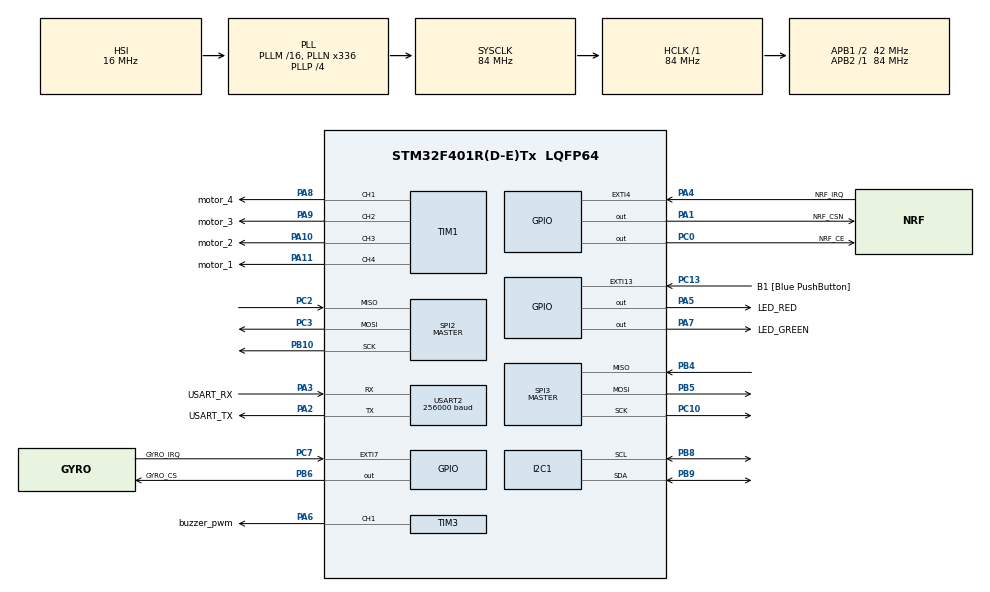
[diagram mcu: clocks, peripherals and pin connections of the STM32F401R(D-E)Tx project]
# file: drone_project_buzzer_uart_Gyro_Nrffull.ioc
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Mcu.Family=STM32F4
Mcu.Name=STM32F401R(D-E)Tx
Mcu.Package=LQFP64
NVIC.EXTI4_IRQn=true\:0\:0\:false\:false\:true\:true\:true\:true
NVIC.EXTI9_5_IRQn=true\:0\:0\:false\:false\:true\:true\:true\:true
NVIC.PriorityGroup=NVIC_PRIORITYGROUP_0
NVIC.USART2_IRQn=true\:0\:0\:false\:false\:true\:true\:true\:true
PA1.GPIO_Label=NRF_CSN
PA1.Signal=GPIO_Output
PA10.GPIO_Label=motor_2
PA10.Signal=S_TIM1_CH3
PA11.GPIO_Label=motor_1
PA11.Signal=S_TIM1_CH4
PA13.GPIO_Label=TMS
PA13.Signal=SYS_JTMS-SWDIO
PA14.GPIO_Label=TCK
PA14.Signal=SYS_JTCK-SWCLK
PA2.GPIO_Label=USART_TX
PA2.GPIO_Mode=GPIO_MODE_AF_PP
PA2.GPIO_PuPd=GPIO_NOPULL
PA2.GPIO_Speed=GPIO_SPEED_FREQ_LOW
PA2.Mode=Asynchronous
PA2.Signal=USART2_TX
PA3.GPIO_Label=USART_RX
PA3.GPIO_Mode=GPIO_MODE_AF_PP
PA3.GPIO_PuPd=GPIO_NOPULL
PA3.GPIO_Speed=GPIO_SPEED_FREQ_LOW
PA3.Mode=Asynchronous
PA3.Signal=USART2_RX
PA4.GPIO_Label=NRF_IRQ
PA4.GPIO_ModeDefaultEXTI=GPIO_MODE_IT_FALLING
PA4.Signal=GPXTI4
PA5.GPIO_Label=LED_RED
PA5.GPIO_Mode=GPIO_MODE_OUTPUT_PP
PA5.GPIO_PuPd=GPIO_NOPULL
PA5.GPIO_Speed=GPIO_SPEED_FREQ_LOW
PA5.Signal=GPIO_Output
PA6.GPIO_Label=buzzer_pwm
PA6.Signal=S_TIM3_CH1
PA7.GPIO_Label=LED_GREEN
PA7.Signal=GPIO_Output
PA8.GPIO_Label=motor_4
PA8.Signal=S_TIM1_CH1
PA9.GPIO_Label=motor_3
PA9.Signal=S_TIM1_CH2
PB10.Mode=Full_Duplex_Master
PB10.Signal=SPI2_SCK
PB3.GPIO_Label=SWO
PB3.Signal=SYS_JTDO-SWO
PB4.Mode=Full_Duplex_Master
PB4.Signal=SPI3_MISO
PB5.Mode=Full_Duplex_Master
PB5.Signal=SPI3_MOSI
PB6.GPIO_Label=GYRO_CS
PB6.GPIO_PuPd=GPIO_NOPULL
PB6.Signal=GPIO_Output
PB8.Mode=I2C
PB8.Signal=I2C1_SCL
PB9.Mode=I2C
PB9.Signal=I2C1_SDA
PC0.GPIO_Label=NRF_CE
PC0.Signal=GPIO_Output
PC10.Mode=Full_Duplex_Master
PC10.Signal=SPI3_SCK
PC13-ANTI_TAMP.GPIO_Label=B1 [Blue PushButton]
PC13-ANTI_TAMP.GPIO_ModeDefaultEXTI=GPIO_MODE_IT_FALLING
PC13-ANTI_TAMP.GPIO_PuPd=GPIO_NOPULL
PC13-ANTI_TAMP.Signal=GPXTI13
PC14-OSC32_IN.Signal=RCC_OSC32_IN
PC15-OSC32_OUT.Signal=RCC_OSC32_OUT
PC2.Mode=Full_Duplex_Master
PC2.Signal=SPI2_MISO
PC3.Mode=Full_Duplex_Master
PC3.Signal=SPI2_MOSI
PC7.GPIO_Label=GYRO_IRQ
PC7.Signal=GPXTI7
PH0\ -\ OSC_IN.Signal=RCC_OSC_IN
PH1\ -\ OSC_OUT.Signal=RCC_OSC_OUT
ProjectManager.HeapSize=0x200
ProjectManager.StackSize=0x400
ProjectManager.TargetToolchain=STM32CubeIDE
RCC.AHBFreq_Value=84000000
RCC.APB1CLKDivider=RCC_HCLK_DIV2
RCC.APB1Freq_Value=42000000
RCC.APB1TimFreq_Value=84000000
RCC.APB2Freq_Value=84000000
RCC.APB2TimFreq_Value=84000000
RCC.CortexFreq_Value=84000000
RCC.HCLKFreq_Value=84000000
RCC.HSE_VALUE=8000000
RCC.HSI_VALUE=16000000
RCC.LSE_VALUE=32768
RCC.PLLN=336
RCC.PLLP=RCC_PLLP_DIV4
RCC.PLLQ=7
RCC.SYSCLKFreq_VALUE=84000000
RCC.SYSCLKSource=RCC_SYSCLKSOURCE_PLLCLK
RCC.VCOOutputFreq_Value=336000000
SH.S_TIM1_CH1.0=TIM1_CH1,PWM Generation1 CH1
SH.S_TIM1_CH2.0=TIM1_CH2,PWM Generation2 CH2
SH.S_TIM1_CH3.0=TIM1_CH3,PWM Generation3 CH3
SH.S_TIM1_CH4.0=TIM1_CH4,PWM Generation4 CH4
SH.S_TIM3_CH1.0=TIM3_CH1,PWM Generation1 CH1
SPI2.BaudRatePrescaler=SPI_BAUDRATEPRESCALER_16
SPI2.Direction=SPI_DIRECTION_2LINES
SPI2.Mode=SPI_MODE_MASTER
SPI2.VirtualType=VM_MASTER
SPI3.BaudRatePrescaler=SPI_BAUDRATEPRESCALER_32
SPI3.Direction=SPI_DIRECTION_2LINES
SPI3.Mode=SPI_MODE_MASTER
SPI3.VirtualType=VM_MASTER
TIM1.Channel-PWM\ Generation1\ CH1=TIM_CHANNEL_1
TIM1.Channel-PWM\ Generation2\ CH2=TIM_CHANNEL_2
TIM1.Channel-PWM\ Generation3\ CH3=TIM_CHANNEL_3
TIM1.Channel-PWM\ Generation4\ CH4=TIM_CHANNEL_4
TIM3.AutoReloadPreload=TIM_AUTORELOAD_PRELOAD_ENABLE
TIM3.Channel-PWM\ Generation1\ CH1=TIM_CHANNEL_1
TIM3.Period=21
TIM3.Prescaler=999
TIM3.Pulse-PWM\ Generation1\ CH1=11
USART2.BaudRate=256000
USART2.VirtualMode=VM_ASYNC
VP_TIM3_VS_ClockSourceINT.Mode=Internal
board=NUCLEO-F401RE

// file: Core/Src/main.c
/* USER CODE BEGIN Header */
/**
  ******************************************************************************
  * @file           : main.c
  * @brief          : Main program body
  ******************************************************************************
  * @attention
  *
  * Copyright (c) 2024 STMicroelectronics.
  * All rights reserved.
  *
  * This software is licensed under terms that can be found in the LICENSE file
  * in the root directory of this software component.
  * If no LICENSE file comes with this software, it is provided AS-IS.
  *
  ******************************************************************************
  */
/* USER CODE END Header */
#include "main.h"
#include "i2c.h"
#include "spi.h"
#include "tim.h"
#include "usart.h"
#include "gpio.h"

/* USER CODE BEGIN Includes */
#include <stdio.h>
#include "mpu6500.h"
#include "nrf24l01.h"
//#define TRANSMITTER or RECEIVER
#define RECEIVER

/* USER CODE END Includes */

/* USER CODE BEGIN PV */
uint16_t usart_data_req = 0 ;
uint8_t usart_rx_data  = 0;
uint8_t mpu_update = 0;
uint8_t Transmitter_Rx_flag = 0;
uint8_t RxNumber = 10;
uint16_t RxBuffer[NRF24L01_PAYLOAD_LENGTH /2] = { 0};

float gx, gy, gz ;
float ax, ay, az ;

uint16_t throttle = 0, yaw = 0, pitch = 0, roll = 0;

/* USER CODE END PV */

void SystemClock_Config(void);
/* USER CODE BEGIN PFP */
void Custom_GPIO_EXTI_Callback(uint16_t GPIO_Pin);
/* USER CODE END PFP */

/* USER CODE BEGIN 0 */

int __io_putchar(int ch){
	while( !(LL_USART_IsActiveFlag_TXE(USART2))) ;
    LL_USART_TransmitData8(USART2, ch) ;
    return ch ;
}

void BUZZER_POWER_UP() { LL_TIM_EnableCounter(TIM3);
	LL_TIM_CC_EnableChannel(TIM3, LL_TIM_CHANNEL_CH1);
	HAL_Delay(100) ;
	LL_TIM_SetAutoReload(TIM3, 40) ;
	HAL_Delay(100) ;
	LL_TIM_SetAutoReload(TIM3, 45) ;
	HAL_Delay(100) ;
	LL_TIM_SetAutoReload(TIM3, 50) ;
	HAL_Delay(100) ;
	LL_TIM_SetAutoReload(TIM3, 21) ;
	HAL_Delay(100) ;
	LL_TIM_CC_DisableChannel(TIM3, LL_TIM_CHANNEL_CH1) ;
}

void Custom_GPIO_EXTI_Callback(uint16_t GPIO_Pin) {
	if(GPIO_Pin == NRF_IRQ_Pin)
	{
		Transmitter_Rx_flag =1;
		NRF24L01_RxReceive((uint8_t *)RxBuffer, &RxNumber, 2000);

	}
}

/* USER CODE END 0 */

int main(void)
{

  /* MCU Configuration--------------------------------------------------------*/

  /* Reset of all peripherals, Initializes the Flash interface and the Systick. */
  HAL_Init();

  /* Configure the system clock */
  SystemClock_Config();

  /* Initialize all configured peripherals */
  MX_GPIO_Init();
  MX_SPI2_Init();
  MX_I2C1_Init();
  MX_SPI3_Init();
  MX_TIM1_Init();
  MX_TIM3_Init();
  MX_USART2_UART_Init();
  /* USER CODE BEGIN 2 */
  LL_SPI_Enable(NRF24L01_SPI);

  BUZZER_POWER_UP();

  LL_USART_EnableIT_RXNE(USART2) ;
  LL_GPIO_SetOutputPin(GYRO_CS_GPIO_Port , GYRO_CS_Pin ) ;
  LL_GPIO_SetOutputPin(NRF_CSN_GPIO_Port , NRF_CSN_Pin) ;

  HAL_Delay(100) ;
  mpu_init(SPI3 , GFS_2000DPS ,AFS_16G) ;
  calib_mpu() ;

  LL_GPIO_TogglePin(LED_RED_GPIO_Port, LED_RED_Pin | LED_GREEN_Pin);
  HAL_Delay(1000) ;
  LL_GPIO_TogglePin(LED_RED_GPIO_Port, LED_RED_Pin | LED_GREEN_Pin);
  HAL_Delay(1000) ;

	uint8_t RxAddress0[5] = {0x78, 0x78, 0x78, 0x78, 0x78};
	uint8_t RxAddress1[5] = {0xB3, 0xB4, 0xB5, 0xB6, 0xCD};
	uint8_t RxAddress2 = 0xF3;
	uint8_t RxAddress3 = 0xF2;
	uint8_t RxAddress4 = 0xF4;
	uint8_t RxAddress5 = 0xF1;

	NRF24L01_RxInit(100, NRF24L01_DATA_RATE_1MBPS, 2000);

	NRF24L01_SetRxAddress(NRF24L01_RX_ADDRESS_P0, RxAddress0, 2000);
	NRF24L01_SetRxAddress(NRF24L01_RX_ADDRESS_P1, RxAddress1, 2000);
	NRF24L01_SetRxAddress(NRF24L01_RX_ADDRESS_P2, &RxAddress2, 2000);
	NRF24L01_SetRxAddress(NRF24L01_RX_ADDRESS_P3, &RxAddress3, 2000);
	NRF24L01_SetRxAddress(NRF24L01_RX_ADDRESS_P4, &RxAddress4, 2000);
	NRF24L01_SetRxAddress(NRF24L01_RX_ADDRESS_P5, &RxAddress5, 2000);

  /* USER CODE END 2 */

  /* Infinite loop */
  while (1)
  {

    /* USER CODE BEGIN 3 */

	  if (usart_data_req == 1 ) {
		usart_data_req = 0  ;
		usart_rx_data = LL_USART_ReceiveData8(USART2);
        LL_USART_TransmitData8(USART2, usart_rx_data) ;

        switch (usart_rx_data) {
			case '0':
		         LL_GPIO_TogglePin(LED_RED_GPIO_Port, LED_RED_Pin | LED_GREEN_Pin);
				break;
			case '1':
				 LL_TIM_CC_EnableChannel(TIM3, LL_TIM_CHANNEL_CH1);
				break;
			case '2':
				 LL_TIM_CC_DisableChannel(TIM3, LL_TIM_CHANNEL_CH1);
				break;
       }
	}

	if (mpu_update == 1) {
		mpu_update = 0 ;
		readSensor() ;
		getGyro(&gx, &gy, &gz) ;
		getAccel(&ax, &ay, &az) ;
	}

  if (Transmitter_Rx_flag == 1) {
	  throttle = RxBuffer[0] ;
	  roll = RxBuffer[1] ;
	  yaw = RxBuffer[2] ;
	  pitch = RxBuffer[3] ;
	  Transmitter_Rx_flag = 0;
   }
	  printf("throttle %d  , yaw %d  , pitch %d  , roll %d   \n"  , throttle , yaw , pitch , roll ) ;
//  	  printf("x :  %f  , y :  %f  , z :  %f  \n"  , gx , gy , gz  ) ;

  }

  /* USER CODE END 3 */
}

void SystemClock_Config(void)
{
  RCC_OscInitTypeDef RCC_OscInitStruct = {0};
  RCC_ClkInitTypeDef RCC_ClkInitStruct = {0};

  /** Configure the main internal regulator output voltage
  */
  __HAL_RCC_PWR_CLK_ENABLE();
  __HAL_PWR_VOLTAGESCALING_CONFIG(PWR_REGULATOR_VOLTAGE_SCALE2);

  /** Initializes the RCC Oscillators according to the specified parameters
  * in the RCC_OscInitTypeDef structure.
  */
  RCC_OscInitStruct.OscillatorType = RCC_OSCILLATORTYPE_HSI;
  RCC_OscInitStruct.HSIState = RCC_HSI_ON;
  RCC_OscInitStruct.HSICalibrationValue = RCC_HSICALIBRATION_DEFAULT;
  RCC_OscInitStruct.PLL.PLLState = RCC_PLL_ON;
  RCC_OscInitStruct.PLL.PLLSource = RCC_PLLSOURCE_HSI;
  RCC_OscInitStruct.PLL.PLLM = 16;
  RCC_OscInitStruct.PLL.PLLN = 336;
  RCC_OscInitStruct.PLL.PLLP = RCC_PLLP_DIV4;
  RCC_OscInitStruct.PLL.PLLQ = 7;
  if (HAL_RCC_OscConfig(&RCC_OscInitStruct) != HAL_OK)
  {
    Error_Handler();
  }

  /** Initializes the CPU, AHB and APB buses clocks
  */
  RCC_ClkInitStruct.ClockType = RCC_CLOCKTYPE_HCLK|RCC_CLOCKTYPE_SYSCLK
                              |RCC_CLOCKTYPE_PCLK1|RCC_CLOCKTYPE_PCLK2;
  RCC_ClkInitStruct.SYSCLKSource = RCC_SYSCLKSOURCE_PLLCLK;
  RCC_ClkInitStruct.AHBCLKDivider = RCC_SYSCLK_DIV1;
  RCC_ClkInitStruct.APB1CLKDivider = RCC_HCLK_DIV2;
  RCC_ClkInitStruct.APB2CLKDivider = RCC_HCLK_DIV1;

  if (HAL_RCC_ClockConfig(&RCC_ClkInitStruct, FLASH_LATENCY_2) != HAL_OK)
  {
    Error_Handler();
  }
}

void Error_Handler(void)
{
  __disable_irq();
  while (1)
  {
  }
}
